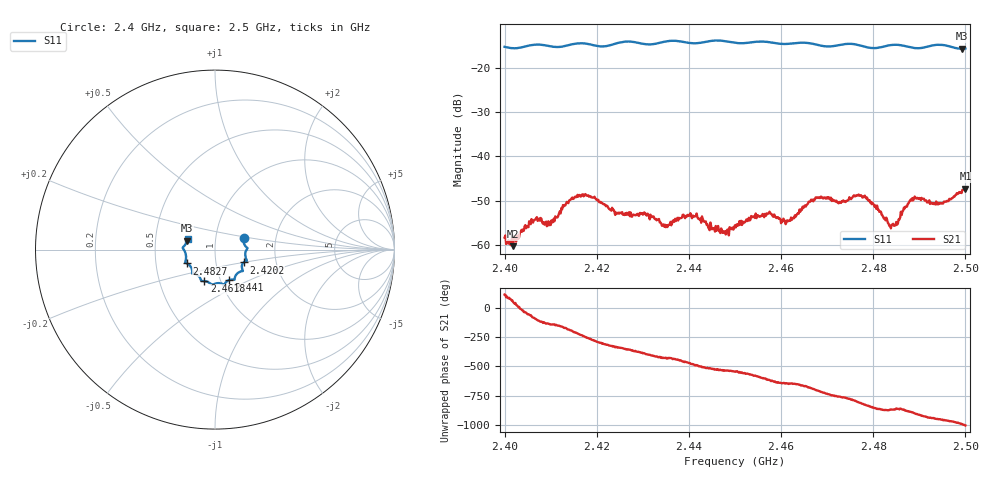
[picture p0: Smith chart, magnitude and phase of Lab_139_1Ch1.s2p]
# Hz S RI R 50
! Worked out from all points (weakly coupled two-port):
!   601 points, 2.4 GHz to 2.5 GHz, reference 50 ohm
!   highest |S21| = -47.26 dB at 2.5 GHz (marker M1); lowest = -60.2 dB at 2.4018 GHz (marker M2)
!   lowest |S11| = -15.8 dB at 2.4993 GHz (marker M3), VSWR 1.39, Z = 36.5 + j3.8 ohm
!   |S11| at or under -10 dB: start of sweep to end of sweep
!   S12 and S22 are empty: the file has one direction only
!   S11 on the Smith chart (normalised r, x): 2.4 GHz: 1.36, +0.18; 2.4202 GHz: 1.36, -0.20; 2.441 GHz: 1.10, -0.39; 2.4618 GHz: 0.84, -0.30; 2.4827 GHz: 0.72, -0.11; 2.5 GHz: 0.73, +0.09
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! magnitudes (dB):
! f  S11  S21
! 2.4 GHz  -15.3  -58.3
! 2.4018 GHz  -15.7  -60.2
! 2.4063 GHz  -14.9  -54.4
! 2.4102 GHz  -15.3  -54.4
! 2.4167 GHz  -14.5  -48.9
! 2.4202 GHz  -15.2  -49.9
! 2.4243 GHz  -14.6  -52.9
! 2.4333 GHz  -14.5  -54.3
! 2.441 GHz  -14.6  -53.6
! 2.4477 GHz  -14.0  -57.1
! 2.45 GHz  -14.4  -55.5
! 2.4573 GHz  -14.3  -52.8
! 2.4618 GHz  -14.6  -54.4
! 2.4667 GHz  -14.6  -50.0
! 2.477 GHz  -15.0  -48.9
! 2.4827 GHz  -15.2  -54.4
! 2.4833 GHz  -15.0  -55.2
! 2.485 GHz  -14.9  -54.8
! 2.4887 GHz  -15.6  -49.9
! 2.4947 GHz  -14.9  -50.5
! 2.4993 GHz  -15.8  -47.6
! 2.5 GHz  -15.7  -47.3
